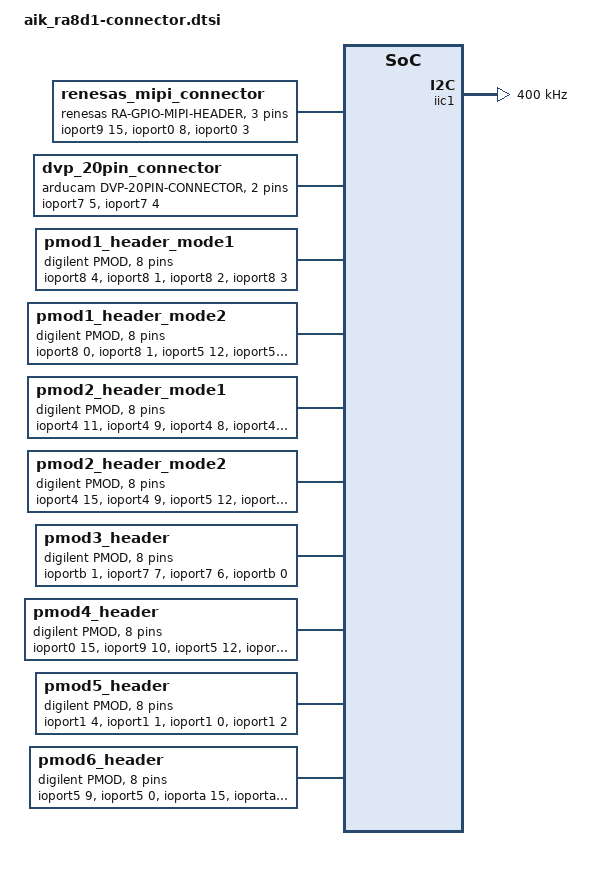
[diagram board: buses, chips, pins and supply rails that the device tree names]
/*
 * Copyright (c) 2026 Renesas Electronics Corporation
 *
 * SPDX-License-Identifier: Apache-2.0
 */

#include <zephyr/dt-bindings/gpio/dvp-20pin-connector.h>

/ {
	renesas_mipi_connector: mipi-connector {
		compatible = "renesas,ra-gpio-mipi-header";
		#gpio-cells = <2>;
		gpio-map-mask = <0xffffffff 0xffffffc0>;
		gpio-map-pass-thru = <0 0x3f>;
		gpio-map = <15 0 &ioport9 15 0>,	/* DISP_BLEN */
			   <17 0 &ioport0 8 0>,		/* DISP_INT */
			   <18 0 &ioport0 3 0>;		/* DISP_RST */
	};

	dvp_20pin_connector: dvp-20pin-connector {
		compatible = "arducam,dvp-20pin-connector";
		#gpio-cells = <2>;
		gpio-map-mask = <0xffffffff 0xffffffc0>;
		gpio-map-pass-thru = <0x0 0x3f>;
		gpio-map = <DVP_20PIN_PEN 0 &ioport7 5 0>,
			   <DVP_20PIN_PDN 0 &ioport7 4 0>;
	};

	/* To use PMOD1 as mode 1 (SPI or UART), please change SW4.1 to UART/SPI position */
	pmod1_header_mode1: pmod-connector1-mode1 {
		compatible = "digilent,pmod";
		#gpio-cells = <2>;
		gpio-map-mask = <0xffffffff 0xffffffc0>;
		gpio-map-pass-thru = <0 0x3f>;
		gpio-map = <0 0 &ioport8 4 0>,	/* IO1: SS/CTS */
			   <1 0 &ioport8 1 0>,	/* IO2: MOSI/TXD*/
			   <2 0 &ioport8 2 0>,	/* IO3: MISO/RXD */
			   <3 0 &ioport8 3 0>,	/* IO4: SCK/RTS */
			   <4 0 &ioport8 0 0>,	/* IO5: GPIO3/INT */
			   <5 0 &ioport8 8 0>,	/* IO6: GPIO4/RESET */
			   <6 0 &ioport8 10 0>,	/* IO7: GPIO1 */
			   <7 0 &ioport8 9 0>;	/* IO8: GPIO2 */
	};

	/* To use PMOD1 as mode 2 (I2C), please change SW4.1 to IIC position */
	pmod1_header_mode2: pmod-connector1-mode2 {
		compatible = "digilent,pmod";
		#gpio-cells = <2>;
		gpio-map-mask = <0xffffffff 0xffffffc0>;
		gpio-map-pass-thru = <0 0x3f>;
		gpio-map = <0 0 &ioport8 0 0>,	/* IO1: INT */
			   <1 0 &ioport8 1 0>,	/* IO2: RESET */
			   <2 0 &ioport5 12 0>,	/* IO3: SCL */
			   <3 0 &ioport5 11 0>,	/* IO4: SDA */
			   <4 0 &ioport8 12 0>,	/* IO5: INT */
			   <5 0 &ioport8 8 0>,	/* IO6: RESET */
			   <6 0 &ioport8 10 0>,	/* IO7: CS2 */
			   <7 0 &ioport8 9 0>;	/* IO8: SC3 */
	};

	/* To use PMOD2 as mode 1 (SPI or UART), please change SW4.1 to UART/SPI position */
	pmod2_header_mode1: pmod-connector2-mode1 {
		compatible = "digilent,pmod";
		#gpio-cells = <2>;
		gpio-map-mask = <0xffffffff 0xffffffc0>;
		gpio-map-pass-thru = <0 0x3f>;
		gpio-map = <0 0 &ioport4 11 0>,	/* IO1: SS/CTS  */
			   <1 0 &ioport4 9 0>,	/* IO2: MOSI/TXD */
			   <2 0 &ioport4 8 0>,	/* IO3: MISO/RXD */
			   <3 0 &ioport4 10 0>,	/* IO4: SCK/RTS  */
			   <4 0 &ioport4 15 0>,	/* IO5: GPIO3/INT */
			   <5 0 &ioport4 12 0>,	/* IO6: GPIO4/RESET */
			   <6 0 &ioport4 14 0>,	/* IO7: GPIO1 */
			   <7 0 &ioport4 13 0>;	/* IO8: GPIO2 */
	};

	/* To use PMOD2 as mode 2 (I2C), please change SW4.1 to IIC position */
	pmod2_header_mode2: pmod-connector2-mode2 {
		compatible = "digilent,pmod";
		#gpio-cells = <2>;
		gpio-map-mask = <0xffffffff 0xffffffc0>;
		gpio-map-pass-thru = <0 0x3f>;
		gpio-map = <0 0 &ioport4 15 0>,	/* IO1: INT */
			   <1 0 &ioport4 9 0>,	/* IO2: RESET */
			   <2 0 &ioport5 12 0>,	/* IO3: SCL */
			   <3 0 &ioport5 11 0>,	/* IO4: SDA */
			   <4 0 &ioport2 7 0>,	/* IO5: INT */
			   <5 0 &ioport4 12 0>,	/* IO6: RESET */
			   <6 0 &ioport4 14 0>,	/* IO7: CS2 */
			   <7 0 &ioport4 13 0>;	/* IO8: SC3 */
	};

	pmod3_header: pmod-connector3 {
		compatible = "digilent,pmod";
		#gpio-cells = <2>;
		gpio-map-mask = <0xffffffff 0xffffffc0>;
		gpio-map-pass-thru = <0 0x3f>;
		gpio-map = <0 0 &ioportb 1 0>,	/* IO1: SS */
			   <1 0 &ioport7 7 0>,	/* IO2: MOSI */
			   <2 0 &ioport7 6 0>,	/* IO3: MISO */
			   <3 0 &ioportb 0 0>,	/* IO4: SCK */
			   <4 0 &ioport0 1 0>,	/* IO5: INT */
			   <5 0 &ioport7 13 0>,	/* IO6: RESET */
			   <6 0 &ioportb 5 0>,	/* IO7: GPIO1 */
			   <7 0 &ioportb 4 0>;	/* IO8: GPIO2 */
	};

	pmod4_header: pmod-connector4 {
		compatible = "digilent,pmod";
		#gpio-cells = <2>;
		gpio-map-mask = <0xffffffff 0xffffffc0>;
		gpio-map-pass-thru = <0 0x3f>;
		gpio-map = <0 0 &ioport0 15 0>,	/* IO1: INT */
			   <1 0 &ioport9 10 0>,	/* IO2: RESET */
			   <2 0 &ioport5 12 0>,	/* IO3: SCL */
			   <3 0 &ioport5 11 0>,	/* IO4: SDA */
			   <4 0 &ioport5 1 0>,	/* IO5: INT */
			   <5 0 &ioport9 14 0>,	/* IO6: RESET */
			   <6 0 &ioport9 11 0>,	/* IO7: CS2 */
			   <7 0 &ioport9 12 0>;	/* IO8: SC3 */
	};

	pmod5_header: pmod-connector5 {
		compatible = "digilent,pmod";
		#gpio-cells = <2>;
		gpio-map-mask = <0xffffffff 0xffffffc0>;
		gpio-map-pass-thru = <0 0x3f>;
		gpio-map = <0 0 &ioport1 4 0>,	/* IO1: SS */
			   <1 0 &ioport1 1 0>,	/* IO2: MOSI */
			   <2 0 &ioport1 0 0>,	/* IO3: MISO */
			   <3 0 &ioport1 2 0>,	/* IO4: SCK */
			   <3 0 &ioport1 5 0>,	/* IO4: INT */
			   <3 0 &ioport1 7 0>,	/* IO4: RESET */
			   <3 0 &ioport1 6 0>,	/* IO4: GPIO1 */
			   <3 0 &ioport6 0 0>;	/* IO4: GPIO2 */
	};

	pmod6_header: pmod-connector6 {
		compatible = "digilent,pmod";
		#gpio-cells = <2>;
		gpio-map-mask = <0xffffffff 0xffffffc0>;
		gpio-map-pass-thru = <0 0x3f>;
		gpio-map = <0 0 &ioport5 9 0>,	/* IO1: INT */
			   <1 0 &ioport5 0 0>,	/* IO2: RESET */
			   <2 0 &ioporta 15 0>,	/* IO3: SCL */
			   <3 0 &ioporta 14 0>,	/* IO4: SDA */
			   <4 0 &ioport5 4 0>,	/* IO5: GPIO1 */
			   <5 0 &ioporta 6 0>,	/* IO6: GPIO2 */
			   <6 0 &ioport8 13 0>,	/* IO7: GPIO3 */
			   <7 0 &ioporta 1 0>;	/* IO8: GPIO4 */
	};
};

zephyr_lcdif: &lcdif {};

zephyr_mipi_dsi: &mipi_dsi {};

renesas_disp_int: &port_irq13 {};

dvp_20pin_interface: &ceu {};

renesas_mipi_i2c: &{/soc/sci9@40358900/i2c} {
	sda-output-delay = <300>;
	noise-filter-clock-select = <1>;
	bit-rate-modulation;
};

dvp_20pin_i2c: &{/soc/sci9@40358900/i2c} {};

pmod6_i2c: &{/soc/sci9@40358900/i2c} {};

pmod1_spi: &{/soc/sci2@40358200/spi} {
	cs-gpios = <&pmod1_header_mode1 0 GPIO_ACTIVE_LOW>;
};

pmod2_spi: &{/soc/sci3@40358300/spi} {
	cs-gpios = <&pmod2_header_mode1 0 GPIO_ACTIVE_LOW>;
};

pmod3_spi: &{/soc/sci1@40358100/spi} {
	cs-gpios = <&pmod3_header 0 GPIO_ACTIVE_LOW>;
};

pmod5_spi: &spi1 {};

/* Notes: pmod1_spi and pmod1_serial cannot be enabled simultaneously. */
pmod1_serial: &{/soc/sci2@40358200/uart} {};

/* Notes: pmod2_spi and pmod2_serial cannot be enabled simultaneously. */
pmod2_serial: &{/soc/sci3@40358300/uart} {};

/* Notes: pmod3_spi and pmod3_serial cannot be enabled simultaneously. */
pmod3_serial: &{/soc/sci1@40358100/uart} {};

/* Notes: pmod1_i2c and pmod2_i2c cannot be used when SW4.1 is set to UART/SPI position */
pmod1_i2c: &iic1 {
	clock-frequency = <I2C_BITRATE_FAST>;
	#address-cells = <1>;
	#size-cells = <0>;
};

pmod2_i2c: &iic1 {};

pmod4_i2c: &iic1 {};
